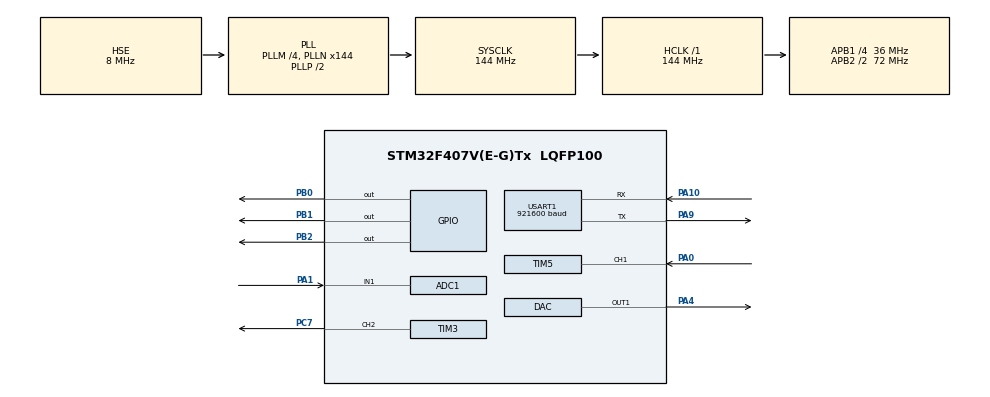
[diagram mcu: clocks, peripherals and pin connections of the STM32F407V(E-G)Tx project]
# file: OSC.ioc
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ADC1.Channel-0\#ChannelRegularConversion=ADC_CHANNEL_1
ADC1.ClockPrescaler=ADC_CLOCK_SYNC_PCLK_DIV2
ADC1.ContinuousConvMode=DISABLE
ADC1.DMAContinuousRequests=ENABLE
ADC1.EOCSelection=ADC_EOC_SINGLE_CONV
ADC1.ExternalTrigConv=ADC_EXTERNALTRIGCONV_T8_TRGO
ADC1.Mode=__NULL
ADC1.NbrOfConversion=1
ADC1.NbrOfConversionFlag=1
ADC1.Rank-0\#ChannelRegularConversion=1
ADC1.Resolution=ADC_RESOLUTION_12B
ADC1.SamplingTime-0\#ChannelRegularConversion=ADC_SAMPLETIME_3CYCLES
ADC1.ScanConvMode=DISABLE
ADC1.master=1
ADC2.Channel-3\#ChannelRegularConversion=ADC_CHANNEL_1
ADC2.EOCSelection=ADC_EOC_SINGLE_CONV
ADC2.NbrOfConversionFlag=1
ADC2.Rank-3\#ChannelRegularConversion=1
ADC2.Resolution=ADC_RESOLUTION_12B
ADC2.SamplingTime-3\#ChannelRegularConversion=ADC_SAMPLETIME_3CYCLES
ADC3.Channel-2\#ChannelRegularConversion=ADC_CHANNEL_1
ADC3.DMAAccessMode=ADC_DMAACCESSMODE_2
ADC3.EOCSelection=ADC_EOC_SINGLE_CONV
ADC3.NbrOfConversionFlag=1
ADC3.Rank-2\#ChannelRegularConversion=1
ADC3.Resolution=ADC_RESOLUTION_12B
ADC3.SamplingTime-2\#ChannelRegularConversion=ADC_SAMPLETIME_3CYCLES
DAC.DAC_Trigger=DAC_TRIGGER_T2_TRGO
Dma.ADC1.0.Direction=DMA_PERIPH_TO_MEMORY
Dma.ADC1.0.FIFOMode=DMA_FIFOMODE_DISABLE
Dma.ADC1.0.Instance=DMA2_Stream0
Dma.ADC1.0.MemDataAlignment=DMA_MDATAALIGN_WORD
Dma.ADC1.0.MemInc=DMA_MINC_ENABLE
Dma.ADC1.0.Mode=DMA_NORMAL
Dma.ADC1.0.PeriphDataAlignment=DMA_PDATAALIGN_WORD
Dma.ADC1.0.PeriphInc=DMA_PINC_DISABLE
Dma.ADC1.0.Priority=DMA_PRIORITY_LOW
Dma.DAC1.2.Direction=DMA_MEMORY_TO_PERIPH
Dma.DAC1.2.FIFOMode=DMA_FIFOMODE_DISABLE
Dma.DAC1.2.Instance=DMA1_Stream5
Dma.DAC1.2.MemDataAlignment=DMA_MDATAALIGN_HALFWORD
Dma.DAC1.2.MemInc=DMA_MINC_ENABLE
Dma.DAC1.2.Mode=DMA_CIRCULAR
Dma.DAC1.2.PeriphDataAlignment=DMA_PDATAALIGN_HALFWORD
Dma.DAC1.2.PeriphInc=DMA_PINC_DISABLE
Dma.DAC1.2.Priority=DMA_PRIORITY_MEDIUM
Dma.Request0=ADC1
Dma.Request1=USART1_RX
Dma.Request2=DAC1
Dma.USART1_RX.1.Direction=DMA_PERIPH_TO_MEMORY
Dma.USART1_RX.1.FIFOMode=DMA_FIFOMODE_DISABLE
Dma.USART1_RX.1.Instance=DMA2_Stream2
Dma.USART1_RX.1.MemDataAlignment=DMA_MDATAALIGN_BYTE
Dma.USART1_RX.1.MemInc=DMA_MINC_ENABLE
Dma.USART1_RX.1.Mode=DMA_NORMAL
Dma.USART1_RX.1.PeriphDataAlignment=DMA_PDATAALIGN_BYTE
Dma.USART1_RX.1.PeriphInc=DMA_PINC_DISABLE
Dma.USART1_RX.1.Priority=DMA_PRIORITY_LOW
Mcu.Family=STM32F4
Mcu.Name=STM32F407V(E-G)Tx
Mcu.Package=LQFP100
NVIC.DMA1_Stream5_IRQn=true\:0\:0\:false\:false\:true\:false\:true\:true
NVIC.DMA2_Stream0_IRQn=true\:0\:0\:false\:false\:true\:false\:true\:true
NVIC.DMA2_Stream2_IRQn=true\:0\:0\:false\:false\:true\:false\:true\:true
NVIC.PriorityGroup=NVIC_PRIORITYGROUP_4
NVIC.TIM5_IRQn=true\:0\:0\:false\:false\:true\:true\:true\:true
NVIC.USART1_IRQn=true\:0\:0\:false\:false\:true\:true\:true\:true
PA0-WKUP.Signal=S_TIM5_CH1
PA1.Signal=ADCx_IN1
PA10.Mode=Asynchronous
PA10.Signal=USART1_RX
PA13.Mode=Serial_Wire
PA13.Signal=SYS_JTMS-SWDIO
PA14.Mode=Serial_Wire
PA14.Signal=SYS_JTCK-SWCLK
PA4.Signal=COMP_DAC1_group
PA9.Mode=Asynchronous
PA9.Signal=USART1_TX
PB0.GPIO_PuPd=GPIO_PULLUP
PB0.Signal=GPIO_Output
PB1.GPIO_PuPd=GPIO_PULLUP
PB1.PinState=GPIO_PIN_RESET
PB1.Signal=GPIO_Output
PB2.GPIO_PuPd=GPIO_PULLUP
PB2.Signal=GPIO_Output
PC7.Signal=S_TIM3_CH2
PH0-OSC_IN.Mode=HSE-External-Oscillator
PH0-OSC_IN.Signal=RCC_OSC_IN
PH1-OSC_OUT.Mode=HSE-External-Oscillator
PH1-OSC_OUT.Signal=RCC_OSC_OUT
ProjectManager.HeapSize=0x1000
ProjectManager.StackSize=0x2000
ProjectManager.TargetToolchain=MDK-ARM V5.32
RCC.48MHZClocksFreq_Value=72000000
RCC.AHBFreq_Value=144000000
RCC.APB1CLKDivider=RCC_HCLK_DIV4
RCC.APB1Freq_Value=36000000
RCC.APB1TimFreq_Value=72000000
RCC.APB2CLKDivider=RCC_HCLK_DIV2
RCC.APB2Freq_Value=72000000
RCC.APB2TimFreq_Value=144000000
RCC.CortexFreq_Value=144000000
RCC.HCLKFreq_Value=144000000
RCC.HSE_VALUE=8000000
RCC.HSI_VALUE=16000000
RCC.LSE_VALUE=32768
RCC.PLLM=4
RCC.PLLN=144
RCC.PLLSourceVirtual=RCC_PLLSOURCE_HSE
RCC.SYSCLKFreq_VALUE=144000000
RCC.SYSCLKSource=RCC_SYSCLKSOURCE_PLLCLK
RCC.VCOOutputFreq_Value=288000000
SH.ADCx_IN1.0=ADC1_IN1,IN1
SH.ADCx_IN1.1=ADC2_IN1,IN1
SH.ADCx_IN1.2=ADC3_IN1,IN1
SH.COMP_DAC1_group.0=DAC_OUT1,DAC_OUT1
SH.S_TIM3_CH2.0=TIM3_CH2,PWM Generation2 CH2
SH.S_TIM5_CH1.0=TIM5_CH1,Input_Capture1_from_TI1
SH.S_TIM5_CH1.1=TIM5_CH1,TriggerSource_TI1FP1
STMicroelectronics.X-CUBE-ALGOBUILD.1.4.0.LibraryCcDSPOoLibraryJjDSPOoLibrary=true
TIM2.AutoReloadPreload=TIM_AUTORELOAD_PRELOAD_ENABLE
TIM2.Period=100-1
TIM2.Prescaler=1-1
TIM2.TIM_MasterOutputTrigger=TIM_TRGO_UPDATE
TIM3.AutoReloadPreload=TIM_AUTORELOAD_PRELOAD_ENABLE
TIM3.Channel-PWM\ Generation2\ CH2=TIM_CHANNEL_2
TIM3.Period=100-1
TIM3.Prescaler=72-1
TIM3.Pulse-PWM\ Generation2\ CH2=50
TIM5.Channel-Input_Capture1_from_TI1=TIM_CHANNEL_1
TIM5.Channel-Input_Capture2_from_TI1_63=TIM_CHANNEL_2
TIM5.ICPolarity_CH2=TIM_INPUTCHANNELPOLARITY_FALLING
TIM5.Prescaler=36-1
TIM8.AutoReloadPreload=TIM_AUTORELOAD_PRELOAD_ENABLE
TIM8.Period=10-1
TIM8.Prescaler=72-1
TIM8.TIM_MasterOutputTrigger=TIM_TRGO_UPDATE
USART1.BaudRate=921600
USART1.VirtualMode=VM_ASYNC
VP_STMicroelectronics.X-CUBE-ALGOBUILD_VS_DSPOoLibraryJjLibrary_1.4.0_1.4.0.Mode=DSPOoLibraryJjLibrary
VP_TIM2_VS_ClockSourceINT.Mode=Internal
VP_TIM5_VS_ClockSourceINT.Mode=Internal
VP_TIM5_VS_ControllerModeReset.Mode=Reset Mode
VP_TIM5_VS_indirect_ch1.Mode=Input_Capture2_from_TI1_63
VP_TIM8_VS_ClockSourceINT.Mode=Internal
board=custom

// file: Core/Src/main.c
/* USER CODE BEGIN Header */
/**
 ******************************************************************************
 * @file           : main.c
 * @brief          : Main program body
 ******************************************************************************
 * @attention
 *
 * Copyright (c) 2025 STMicroelectronics.
 * All rights reserved.
 *
 * This software is licensed under terms that can be found in the LICENSE file
 * in the root directory of this software component.
 * If no LICENSE file comes with this software, it is provided AS-IS.
 *
 ******************************************************************************
 */
/* USER CODE END Header */
#include "main.h"
#include "adc.h"
#include "dac.h"
#include "dma.h"
#include "tim.h"
#include "usart.h"
#include "gpio.h"

/* USER CODE BEGIN Includes */
#include <stdio.h>

#include "ADC_DMA.h"
#include "message_UART.h"
#include "HMI.h"
#include "OSC_Trigger.h"
#include "Config.h"
#include "Fre_Measure.h"
#include "FFT.h"
#include "DAC_DMA.h"

/* USER CODE END Includes */

/* USER CODE BEGIN PV */
uint32_t *adc_value_buffer_u32;
uint32_t adc_value_u32[ADC_NUMBER];
static uint32_t adc_value_u32_HasFilter[ADC_NUMBER];
static uint8_t print_frame[8 + ADC_NUMBER * 2];  // 电脑串口帧缓冲区
static uint32_t adc_value_u32_HasScale[ADC_NUMBER];

/* USER CODE END PV */

void SystemClock_Config(void);
/* USER CODE BEGIN PFP */
int fputc(int ch, FILE *f)
{
  HAL_UART_Transmit(&huart1, (uint8_t *)&ch, 1, 1000);
  return ch;
}

/* USER CODE END PFP */

int main(void)
{

  /* MCU Configuration--------------------------------------------------------*/

  /* Reset of all peripherals, Initializes the Flash interface and the Systick. */
  HAL_Init();

  /* Configure the system clock */
  SystemClock_Config();

  /* Initialize all configured peripherals */
  MX_GPIO_Init();
  MX_DMA_Init();
  MX_ADC1_Init();
  MX_TIM2_Init();
  MX_USART1_UART_Init();
  MX_TIM3_Init();
  MX_ADC2_Init();
  MX_ADC3_Init();
  MX_TIM5_Init();
  MX_DAC_Init();
  MX_TIM8_Init();
  /* USER CODE BEGIN 2 */

  uint8_t RxBuffer[16];             // 定义接收缓冲区
  uint16_t count_1 = 0;             // 用于计数
  message_init();                   // 初始化串口
  Fre_Measure_Init();               // 初始化频率测量
  ConfigAndData_Init();             // 初始化配置和数据
  ADC_DMA_Start(OSC_Config.OSC_Fs); // 启动ADC
  ADC_Change_Fs();                  // 改变ADC采样频率
  FFT_Init();                       // 初始化FFT
  DAC_DMA_Init();                   // 初始化DAC

  /* USER CODE END 2 */

  /* Infinite loop */
  /* USER CODE BEGIN WHILE */
  while (1)
  {
    if (message_Read(RxBuffer, 16, 1)) // 读取串口数据
    {
      if (HMI_ReceiveHandle(RxBuffer, 16) == 0) // 处理串口数据
      {
      }
    }
    if (OSC_Config.OSC_Enable) // 判断示波器是否使能
    {
      if (count_1 >= 100) // 判断定时
      {
        count_1 = 0;
        // 无屏：不发送 HMI_SeedFrame_MeasureData，避免屏指令污染电脑数据流
        if ((adc_value_buffer_u32 = ADC_ReadData_u32()) != NULL) // 判断ADC是否有数据
        {
          if (OSC_Config.OSC_Fs == 7200000)
          {
            ADC_MultiModeBufferConvert(adc_value_buffer_u32, adc_value_u32, ADC_BUFFER_MultiMode_SIZE);    // 交替采样数据的转换
            Filter_IIR(adc_value_u32, adc_value_u32_HasFilter, 0.8);                                       // 滤波
            ADC_DataHandle(adc_value_u32_HasFilter, 20, 730);                                              // 数据处理，获得Vpp等
            Fre_Measure_Get_Fre(&OSC_MeasureData.Freq_TIM, &OSC_MeasureData.Duty);                         // 测量频率
            Scale_X_Axis(adc_value_u32_HasFilter, adc_value_u32_HasScale, (float)OSC_Config.Scale_X_Axis); // 缩放
          }
          else
          {
            Filter_IIR(adc_value_buffer_u32, adc_value_u32_HasFilter, 0.4);                             // 滤波
            ADC_DataHandle(adc_value_u32_HasFilter, 20, 730);                                           // 数据处理，获得Vpp等
            Fre_Measure_Get_Fre(&OSC_MeasureData.Freq_TIM, &OSC_MeasureData.Duty);                      // 测量频率
            Scale_X_Axis(adc_value_buffer_u32, adc_value_u32_HasScale, (float)OSC_Config.Scale_X_Axis); // 缩放
          }
          if (OSC_Config.OSC_Print_Enable) // 发送二进制帧到电脑
          {
            // ---- 波形帧 (0xAA 0xBB) ----
            print_frame[0] = 0xAA; print_frame[1] = 0xBB; // 帧同步头
            uint16_t len = ADC_NUMBER;
            print_frame[2] = len & 0xFF;             // 点数低字节
            print_frame[3] = (len >> 8) & 0xFF;      // 点数高字节
            uint32_t fs_hz = OSC_Config.OSC_Fs;
            print_frame[4] = fs_hz & 0xFF;            // 采样率[31:24]
            print_frame[5] = (fs_hz >> 8) & 0xFF;
            print_frame[6] = (fs_hz >> 16) & 0xFF;
            print_frame[7] = (fs_hz >> 24) & 0xFF;    // 采样率[7:0]
            uint32_t *pSrc = (OSC_Config.OSC_Fs == 7200000) ? adc_value_u32 : adc_value_buffer_u32;
            for (int i = 0; i < ADC_NUMBER; i++)
            {
              uint16_t val = (uint16_t)(pSrc[i] & 0xFFF);
              print_frame[8 + i * 2] = val & 0xFF;
              print_frame[8 + i * 2 + 1] = (val >> 8) & 0xFF;
            }
            HAL_UART_Transmit(&huart1, print_frame, sizeof(print_frame), 500);

            // ---- FFT频谱帧 (0xCC 0xDD) - 自动运行FFT并发送结果 ----
            FFT_App(&OSC_MeasureData.Freq_FFT);
            {
              static uint8_t fft_frame[16 + (FFT_LENGTH / 2 + 1) * 4 + 16]; // 2+4+4+4+2 + 513*4 + 16(二三次谐波) = 2084B
              uint32_t max_freq = OSC_Config.OSC_Fs / 2;
              uint16_t fft_len = FFT_LENGTH / 2 + 1;  // 513
              uint8_t *p;
              // 同步头
              fft_frame[0] = 0xCC; fft_frame[1] = 0xDD;
              // max_freq (uint32 LE)
              p = (uint8_t *)&max_freq;
              fft_frame[2] = p[0]; fft_frame[3] = p[1];
              fft_frame[4] = p[2]; fft_frame[5] = p[3];
              // peak_freq (float32)
              p = (uint8_t *)&OSC_MeasureData.Freq_FFT;
              fft_frame[6] = p[0]; fft_frame[7] = p[1];
              fft_frame[8] = p[2]; fft_frame[9] = p[3];
              // peak_amp (float32)
              p = (uint8_t *)&OSC_MeasureData.Freq_FFT_Amp;
              fft_frame[10] = p[0]; fft_frame[11] = p[1];
              fft_frame[12] = p[2]; fft_frame[13] = p[3];
              // fft_len (uint16 LE)
              p = (uint8_t *)&fft_len;
              fft_frame[14] = p[0]; fft_frame[15] = p[1];
              // FFT幅度数据 (float32数组)
              for (uint16_t i = 0; i < fft_len; i++)
              {
                p = (uint8_t *)&output[i];
                uint32_t idx = 16 + i * 4;
                fft_frame[idx]     = p[0];
                fft_frame[idx + 1] = p[1];
                fft_frame[idx + 2] = p[2];
                fft_frame[idx + 3] = p[3];
              }
              // ---- 帧尾追加：二次+三次谐波 频率+幅值 (float32 LE, 16字节) ----
              // 布局: 16 + fft_len*4 + [h2_freq(4) | h2_amp(4) | h3_freq(4) | h3_amp(4)]
              FFT_Harmonic_t harms[3];
              FFT_GetHarmonics((float)OSC_Config.OSC_Fs, harms);
              OSC_MeasureData.Freq_FFT_H2     = harms[1].freq;
              OSC_MeasureData.Freq_FFT_H2_Amp = harms[1].amp;
              OSC_MeasureData.Freq_FFT_H3     = harms[2].freq;
              OSC_MeasureData.Freq_FFT_H3_Amp = harms[2].amp;
              uint32_t tail = 16 + fft_len * 4;
              p = (uint8_t *)&OSC_MeasureData.Freq_FFT_H2;       // h2_freq
              fft_frame[tail] = p[0]; fft_frame[tail+1] = p[1]; fft_frame[tail+2] = p[2]; fft_frame[tail+3] = p[3];
              p = (uint8_t *)&OSC_MeasureData.Freq_FFT_H2_Amp;   // h2_amp
              fft_frame[tail+4] = p[0]; fft_frame[tail+5] = p[1]; fft_frame[tail+6] = p[2]; fft_frame[tail+7] = p[3];
              p = (uint8_t *)&OSC_MeasureData.Freq_FFT_H3;       // h3_freq
              fft_frame[tail+8] = p[0]; fft_frame[tail+9] = p[1]; fft_frame[tail+10] = p[2]; fft_frame[tail+11] = p[3];
              p = (uint8_t *)&OSC_MeasureData.Freq_FFT_H3_Amp;   // h3_amp
              fft_frame[tail+12] = p[0]; fft_frame[tail+13] = p[1]; fft_frame[tail+14] = p[2]; fft_frame[tail+15] = p[3];
              HAL_UART_Transmit(&huart1, fft_frame, sizeof(fft_frame), 500);
            }
          }
          if (!OSC_Config.OSC_Print_Enable) // 开启电脑打印时，跳过HMI屏幕的波形发送
          {
            if (OSC_Config.OSC_Auto_Enable == 1) // 判断是否开启自动测量，
            {
              Auto_Measure(); // 自动测量
            }
            else if (OSC_Config.OSC_FFT_Enable == 1) // 判断是否开启FFT
            {
              FFT_App(&OSC_MeasureData.Freq_FFT); // 进行FFT（基波）
              // 检测基波+二次+三次谐波
              FFT_Harmonic_t harms[3];
              FFT_GetHarmonics((float)OSC_Config.OSC_Fs, harms);
              OSC_MeasureData.Freq_FFT_H2     = harms[1].freq;
              OSC_MeasureData.Freq_FFT_H2_Amp = harms[1].amp;
              OSC_MeasureData.Freq_FFT_H3     = harms[2].freq;
              OSC_MeasureData.Freq_FFT_H3_Amp = harms[2].amp;
              HMI_SeedFrame_FFT(output, 512);     // 发送FFT数据
            }
            else
            {
              HMI_SeedFrame_Wave(adc_value_u32_HasScale, 800, ADC_NUMBER, 0);
            }
          }
          ADC_Restart(OSC_Config.OSC_Fs); // 重新启动ADC
        }
      }
    }
    if (DAC_Param.HaveChange_Flag == 1) // 判断DAC有无修改参数
    {
      DAC_Param.HaveChange_Flag = 0;
      if (OSC_Config.OSC_DAC_Enable == 1) // 判断DAC是否使能
      {
        DAC_DMA_ChangeOut(DAC_Param.type, DAC_Param.Freq, DAC_Param.VPP, DAC_Param.offset, DAC_Param.Duty); // 修改DAC参数
        DAC_DMA_Start();                                                                                    // 启动DAC
      }
      else
      {
        DAC_DMA_Stop(); // 停止DAC
      }
    }
    HAL_Delay(1);
    count_1++; // 计数值加1

    /* USER CODE END WHILE */

  }
}

void SystemClock_Config(void)
{
  RCC_OscInitTypeDef RCC_OscInitStruct = {0};
  RCC_ClkInitTypeDef RCC_ClkInitStruct = {0};

  /** Configure the main internal regulator output voltage
  */
  __HAL_RCC_PWR_CLK_ENABLE();
  __HAL_PWR_VOLTAGESCALING_CONFIG(PWR_REGULATOR_VOLTAGE_SCALE1);

  /** Initializes the RCC Oscillators according to the specified parameters
  * in the RCC_OscInitTypeDef structure.
  */
  RCC_OscInitStruct.OscillatorType = RCC_OSCILLATORTYPE_HSE;
  RCC_OscInitStruct.HSEState = RCC_HSE_ON;
  RCC_OscInitStruct.PLL.PLLState = RCC_PLL_ON;
  RCC_OscInitStruct.PLL.PLLSource = RCC_PLLSOURCE_HSE;
  RCC_OscInitStruct.PLL.PLLM = 4;
  RCC_OscInitStruct.PLL.PLLN = 144;
  RCC_OscInitStruct.PLL.PLLP = RCC_PLLP_DIV2;
  RCC_OscInitStruct.PLL.PLLQ = 4;
  if (HAL_RCC_OscConfig(&RCC_OscInitStruct) != HAL_OK)
  {
    Error_Handler();
  }

  /** Initializes the CPU, AHB and APB buses clocks
  */
  RCC_ClkInitStruct.ClockType = RCC_CLOCKTYPE_HCLK|RCC_CLOCKTYPE_SYSCLK
                              |RCC_CLOCKTYPE_PCLK1|RCC_CLOCKTYPE_PCLK2;
  RCC_ClkInitStruct.SYSCLKSource = RCC_SYSCLKSOURCE_PLLCLK;
  RCC_ClkInitStruct.AHBCLKDivider = RCC_SYSCLK_DIV1;
  RCC_ClkInitStruct.APB1CLKDivider = RCC_HCLK_DIV4;
  RCC_ClkInitStruct.APB2CLKDivider = RCC_HCLK_DIV2;

  if (HAL_RCC_ClockConfig(&RCC_ClkInitStruct, FLASH_LATENCY_4) != HAL_OK)
  {
    Error_Handler();
  }
}

void Error_Handler(void)
{
  __disable_irq();
  while (1)
  {
  }
}
